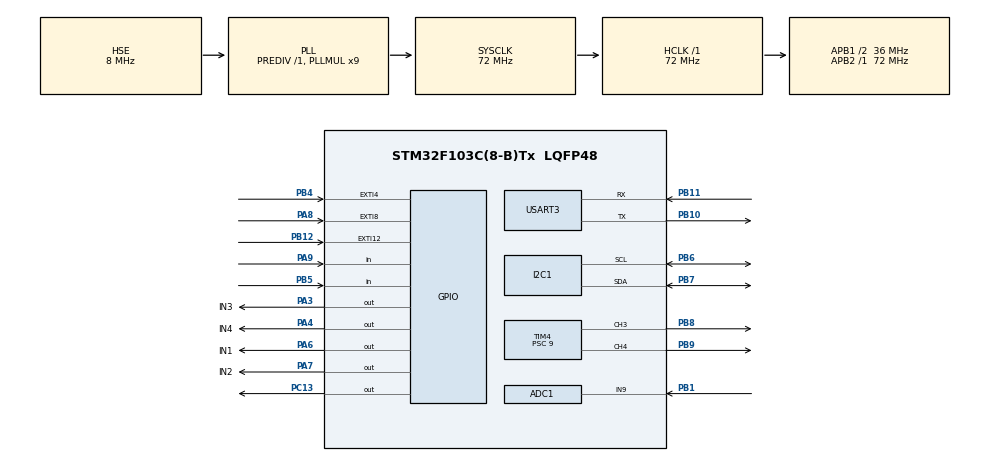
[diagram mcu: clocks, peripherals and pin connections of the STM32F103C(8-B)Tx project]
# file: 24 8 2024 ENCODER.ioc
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ADC1.Channel-0\#ChannelRegularConversion=ADC_CHANNEL_9
ADC1.NbrOfConversionFlag=1
ADC1.Rank-0\#ChannelRegularConversion=1
ADC1.SamplingTime-0\#ChannelRegularConversion=ADC_SAMPLETIME_1CYCLE_5
ADC1.master=1
Dma.ADC1.0.Direction=DMA_PERIPH_TO_MEMORY
Dma.ADC1.0.Instance=DMA1_Channel1
Dma.ADC1.0.MemDataAlignment=DMA_MDATAALIGN_HALFWORD
Dma.ADC1.0.MemInc=DMA_MINC_ENABLE
Dma.ADC1.0.Mode=DMA_CIRCULAR
Dma.ADC1.0.PeriphDataAlignment=DMA_PDATAALIGN_HALFWORD
Dma.ADC1.0.PeriphInc=DMA_PINC_DISABLE
Dma.ADC1.0.Priority=DMA_PRIORITY_LOW
Dma.Request0=ADC1
Mcu.Family=STM32F1
Mcu.Name=STM32F103C(8-B)Tx
Mcu.Package=LQFP48
NVIC.DMA1_Channel1_IRQn=true\:0\:0\:false\:false\:true\:false\:true\:true
NVIC.EXTI15_10_IRQn=true\:0\:0\:false\:false\:true\:true\:true\:true
NVIC.EXTI4_IRQn=true\:0\:0\:false\:false\:true\:true\:true\:true
NVIC.EXTI9_5_IRQn=true\:0\:0\:false\:false\:true\:true\:true\:true
NVIC.PriorityGroup=NVIC_PRIORITYGROUP_4
NVIC.TIM2_IRQn=true\:0\:0\:false\:false\:true\:true\:true\:true
NVIC.USART3_IRQn=true\:0\:0\:false\:false\:true\:true\:true\:true
PA13.Mode=Serial_Wire
PA13.Signal=SYS_JTMS-SWDIO
PA14.Mode=Serial_Wire
PA14.Signal=SYS_JTCK-SWCLK
PA3.GPIO_Label=IN3
PA3.Signal=GPIO_Output
PA4.GPIO_Label=IN4
PA4.Signal=GPIO_Output
PA6.GPIO_Label=IN1
PA6.Signal=GPIO_Output
PA7.GPIO_Label=IN2
PA7.Signal=GPIO_Output
PA8.GPIO_PuPd=GPIO_PULLUP
PA8.Signal=GPXTI8
PA9.GPIO_PuPd=GPIO_PULLUP
PA9.Signal=GPIO_Input
PB1.Signal=ADCx_IN9
PB10.Mode=Asynchronous
PB10.Signal=USART3_TX
PB11.Mode=Asynchronous
PB11.Signal=USART3_RX
PB12.GPIO_PuPd=GPIO_PULLUP
PB12.Signal=GPXTI12
PB4.GPIO_PuPd=GPIO_PULLUP
PB4.Signal=GPXTI4
PB5.GPIO_PuPd=GPIO_PULLUP
PB5.Signal=GPIO_Input
PB6.Mode=I2C
PB6.Signal=I2C1_SCL
PB7.Mode=I2C
PB7.Signal=I2C1_SDA
PB8.Signal=S_TIM4_CH3
PB9.Signal=S_TIM4_CH4
PC13-TAMPER-RTC.Signal=GPIO_Output
PD0-OSC_IN.Mode=HSE-External-Oscillator
PD0-OSC_IN.Signal=RCC_OSC_IN
PD1-OSC_OUT.Mode=HSE-External-Oscillator
PD1-OSC_OUT.Signal=RCC_OSC_OUT
ProjectManager.HeapSize=0x200
ProjectManager.StackSize=0x400
ProjectManager.TargetToolchain=MDK-ARM V5
RCC.ADCPresc=RCC_ADCPCLK2_DIV6
RCC.AHBFreq_Value=72000000
RCC.APB1CLKDivider=RCC_HCLK_DIV2
RCC.APB1Freq_Value=36000000
RCC.APB1TimFreq_Value=72000000
RCC.APB2Freq_Value=72000000
RCC.APB2TimFreq_Value=72000000
RCC.HCLKFreq_Value=72000000
RCC.PLLMUL=RCC_PLL_MUL9
RCC.PLLSourceVirtual=RCC_PLLSOURCE_HSE
RCC.SYSCLKFreq_VALUE=72000000
RCC.SYSCLKSource=RCC_SYSCLKSOURCE_PLLCLK
RCC.USBFreq_Value=72000000
SH.ADCx_IN9.0=ADC1_IN9,IN9
SH.S_TIM4_CH3.0=TIM4_CH3,PWM Generation3 CH3
SH.S_TIM4_CH4.0=TIM4_CH4,PWM Generation4 CH4
TIM2.Period=3999
TIM2.Prescaler=179
TIM4.Channel-PWM\ Generation3\ CH3=TIM_CHANNEL_3
TIM4.Channel-PWM\ Generation4\ CH4=TIM_CHANNEL_4
TIM4.Period=1799
TIM4.Prescaler=9
USART3.VirtualMode=VM_ASYNC
VP_TIM2_VS_ClockSourceINT.Mode=Internal
board=custom

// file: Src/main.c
/* USER CODE BEGIN Header */
/**
  ******************************************************************************
  * @file           : main.c
  * @brief          : Main program body
  ******************************************************************************
  * @attention
  *
  * Copyright (c) 2024 STMicroelectronics.
  * All rights reserved.
  *
  * This software is licensed under terms that can be found in the LICENSE file
  * in the root directory of this software component.
  * If no LICENSE file comes with this software, it is provided AS-IS.
  *
  ******************************************************************************
  */
/* USER CODE END Header */
#include "main.h"

/* USER CODE BEGIN Includes */
#include "stdio.h"
#include "string.h"
#include "i2c-lcd.h"

/* USER CODE END Includes */

ADC_HandleTypeDef hadc1;
DMA_HandleTypeDef hdma_adc1;

I2C_HandleTypeDef hi2c1;

TIM_HandleTypeDef htim2;
TIM_HandleTypeDef htim4;

UART_HandleTypeDef huart3;

void SystemClock_Config(void);
static void MX_GPIO_Init(void);
static void MX_DMA_Init(void);
static void MX_ADC1_Init(void);
static void MX_TIM2_Init(void);
static void MX_TIM4_Init(void);
static void MX_I2C1_Init(void);
static void MX_USART3_UART_Init(void);

/* USER CODE BEGIN 0 */
uint16_t	readPOT[1];
int processPOT;
int valuePOT;
int valuePWM_L;
int valuePWM_R;
int DIRR=1;
int DIRL=1;

void Forward(){
		HAL_GPIO_WritePin(IN1_GPIO_Port, IN1_Pin, 0);
		HAL_GPIO_WritePin(IN2_GPIO_Port, IN2_Pin, 1);
		HAL_GPIO_WritePin(IN3_GPIO_Port, IN3_Pin, 0);
		HAL_GPIO_WritePin(IN4_GPIO_Port, IN4_Pin, 1);
}
void Back(){
		HAL_GPIO_WritePin(IN1_GPIO_Port, IN1_Pin, 1);
		HAL_GPIO_WritePin(IN2_GPIO_Port, IN2_Pin, 0);
		HAL_GPIO_WritePin(IN3_GPIO_Port, IN3_Pin, 1);
		HAL_GPIO_WritePin(IN4_GPIO_Port, IN4_Pin, 0);
}
void Stop(){
		HAL_GPIO_WritePin(IN1_GPIO_Port, IN1_Pin, 0);
		HAL_GPIO_WritePin(IN2_GPIO_Port, IN2_Pin, 0);
		HAL_GPIO_WritePin(IN3_GPIO_Port, IN3_Pin, 0);
		HAL_GPIO_WritePin(IN4_GPIO_Port, IN4_Pin, 0);
}

void PWMMOTOR(){
	if(DIRL > 0){
		__HAL_TIM_SetCompare(&htim4,TIM_CHANNEL_3, valuePWM_L);
		HAL_GPIO_WritePin(IN3_GPIO_Port, IN1_Pin, 1);
		HAL_GPIO_WritePin(IN4_GPIO_Port, IN2_Pin, 0);
	}
	if(DIRR > 0){
		__HAL_TIM_SetCompare(&htim4,TIM_CHANNEL_4, valuePWM_R);
		HAL_GPIO_WritePin(IN3_GPIO_Port, IN3_Pin, 1);
		HAL_GPIO_WritePin(IN4_GPIO_Port, IN4_Pin, 0);
	}

	if(DIRL < 0){
		__HAL_TIM_SetCompare(&htim4,TIM_CHANNEL_3, valuePWM_L);
		HAL_GPIO_WritePin(IN3_GPIO_Port, IN1_Pin, 0);
		HAL_GPIO_WritePin(IN4_GPIO_Port, IN2_Pin, 1);
	}
	if(DIRR < 0){
		__HAL_TIM_SetCompare(&htim4,TIM_CHANNEL_4, valuePWM_R);
		HAL_GPIO_WritePin(IN3_GPIO_Port, IN3_Pin, 0);
		HAL_GPIO_WritePin(IN4_GPIO_Port, IN4_Pin, 1);
	}

	if(valuePWM_R == 0){
		__HAL_TIM_SetCompare(&htim4,TIM_CHANNEL_4, 0);
		HAL_GPIO_WritePin(IN1_GPIO_Port, IN3_Pin, 0);
		HAL_GPIO_WritePin(IN2_GPIO_Port, IN4_Pin, 0);
	}
	if(valuePWM_L == 0){
		__HAL_TIM_SetCompare(&htim4,TIM_CHANNEL_3, 0);
		HAL_GPIO_WritePin(IN1_GPIO_Port, IN1_Pin, 0);
		HAL_GPIO_WritePin(IN2_GPIO_Port, IN2_Pin, 0);
	}

}
volatile short eR;
volatile short enR;
volatile short eL;
volatile short enL;
int btnStart=0;
int valueStart=0;
int i=1;
void HAL_GPIO_EXTI_Callback(uint16_t GPIO_Pin){
		if(HAL_GPIO_ReadPin(GPIOB, GPIO_PIN_12) == 0){
			btnStart = 1;

		}

	 if(GPIO_Pin == GPIO_PIN_4) {
			if(HAL_GPIO_ReadPin(GPIOB, GPIO_PIN_5) == 0) {
					eR++;
			} else {
					eR--;
			}
    }

	 if(GPIO_Pin == GPIO_PIN_8) {
			if(HAL_GPIO_ReadPin(GPIOA, GPIO_PIN_9) == 0){
					eL--;
			} else {
					eL++;
			}
   }
}

float taget=0;
float valueL=0;
float cnt=0;
float valueE=0;
float valueEXP=0;
float kd1=0.6; //0.6
float kp1=1; //5.5
float kd2=0.7;
float kp2=1;
float output=0;
float theta0=0;
float theta1=0;
float theta2=0;
float theta3=0;
float W1=0;
float W2=0;
float POT=0;
float Wr1=0;
float Wr2=0;
float e1=0;
float e2=0;
float e3=0;
float e4=0;
float t=0;
float a=0;
float smax=2;
float vmax=0.65;
float tf=3.25;
float t1=0;
float t2=0;
float x=0;
float output1=0;
float output2=0;
float output3=0;
float output4=0;
float start=0;
int value =0;
void cal(){
	if(valuePWM_R >= 1799){
		valuePWM_R = 1799;
	}
	if(valuePWM_R <= -1799){
		valuePWM_R = -1799;
	}

	if(valuePWM_R<0){
		valuePWM_R = valuePWM_R*(-1);
		DIRR = -1;
	}
	else if(valuePWM_R>0){
		valuePWM_R = valuePWM_R*1;
		DIRR = 1;
	}

	if(valuePWM_L >= 1799){
		valuePWM_L = 1799;
	}
	if(valuePWM_L <= -1799){
		valuePWM_L = -1799;
	}
	if(valuePWM_L<0){
		valuePWM_L = valuePWM_L*(-1);
		DIRL = -1;
	}
	else if(valuePWM_L>0){
		valuePWM_L = valuePWM_L*1;
		DIRL = 1;
	}

	PWMMOTOR();
}

void HAL_TIM_PeriodElapsedCallback(TIM_HandleTypeDef *htim){
	enL = eL*4;
	enR = eR*4;
//	HAL_ADC_Start(&hadc1);
//	POT = HAL_ADC_GetValue(&hadc1);
//	tf = POT*4/4096;
	if(valueStart == 1){
		a = vmax/t1;
		t1 = (vmax*tf-smax)/vmax;
		t2 = tf-2*t1;
		t += 0.01;
		if(t<t1){
			x = 0.5 * a *(t*t);
		}
		else if(t < tf-t1){
			x = 0.5*a*(t1*t1) + vmax*(t-t1);
		}
		else if(t < tf){
			x = 0.5*a*t1*t1 + vmax*t2 + vmax*(t-t1-t2) + 0.5*a*(t-t1-t2)*(t-t1-t2);
		}
	}
	//cnt = (x*968)/(3.14*0.065);
	cnt = (x/(3.14*0.065))*936;

	//################RIGHT################
	theta1 = enR;
	e1 = cnt-enR;
	W1 = (theta1-theta0)*100;
	output1 = kp1*e1 - kd1*W1;
	valuePWM_R = output1*1799/936;
	theta0=theta1;

	//################LEFT################
	theta3 = enL;
	e1 = cnt-enL;
	W1 = (theta3-theta2)*100;
	output2 = kp2*e1 - kd2*W1;
	valuePWM_L = output2*1799/936;
	theta2=theta3;

//	if(t>=tf){
//		valuePWM_L = 0;
//		valuePWM_R = 0;
//		Stop();
//	}

	cal();
}
void lcd(){
		lcd_clear();
		lcd_put_cur(0,0);
		lcd_send_string("Tf:");
		lcd_send_number((float)tf);

		lcd_put_cur(0,8);
		lcd_send_string("TIME:");
		lcd_send_number((float)start);

		lcd_put_cur(1,0);
		lcd_send_string("T:");
		lcd_send_number((float)t);

		lcd_put_cur(1,8);
		lcd_send_string("PWM:");
		lcd_send_number((int)valuePWM_L);
}
/* USER CODE END 0 */

int main(void)
{

  /* MCU Configuration--------------------------------------------------------*/

  /* Reset of all peripherals, Initializes the Flash interface and the Systick. */
  HAL_Init();

  /* Configure the system clock */
  SystemClock_Config();

  /* Initialize all configured peripherals */
  MX_GPIO_Init();
  MX_DMA_Init();
  MX_ADC1_Init();
  MX_TIM2_Init();
  MX_TIM4_Init();
  MX_I2C1_Init();
  MX_USART3_UART_Init();
  /* USER CODE BEGIN 2 */
	HAL_GPIO_TogglePin(GPIOC,GPIO_PIN_13);
	lcd_init();
	lcd_put_cur(0,3);
	lcd_send_string("DA2 - N2A");
	lcd_put_cur(1,3);
	lcd_send_string("DH CDT17A");

	HAL_TIM_PWM_Start(&htim4,TIM_CHANNEL_3);
	HAL_TIM_PWM_Start(&htim4,TIM_CHANNEL_4);
	//HAL_TIM_Encoder_Start(&htim3,TIM_CHANNEL_1);
	//HAL_TIM_Encoder_Start(&htim3,TIM_CHANNEL_2);
//	HAL_TIM_Encoder_Start(&htim1,TIM_CHANNEL_1);
//	HAL_TIM_Encoder_Start(&htim1,TIM_CHANNEL_2);
	HAL_TIM_Base_Start_IT(&htim2);
//	for(int i=1; i<=6; i++){
//		HAL_GPIO_TogglePin(GPIOC,GPIO_PIN_13);
//		HAL_Delay(500);
//		start += 0.5;
//		lcd();
//
//	}
//	btnStart = 1;

  /* USER CODE END 2 */

  /* Infinite loop */
  while (1)
  {

    /* USER CODE BEGIN 3 */
		if(valueStart == 0){
			if(btnStart == 1){
				for(int i=1; i<=6; i++){
				HAL_GPIO_TogglePin(GPIOC,GPIO_PIN_13);
				HAL_Delay(500);
				}
				valueStart = 1;
			}
		}

		lcd_clear();
		lcd();
		HAL_Delay(100);
		//value += 1;
//			taget=0;
//			HAL_Delay(1500);
//
//			taget += 90;
//			HAL_Delay(1500);
//			taget += 90;
//			HAL_Delay(1500);
//			taget += 90;
//			HAL_Delay(1500);
//			taget += 90;
//			HAL_Delay(1500);

//			taget -= 90;
//			HAL_Delay(1500);
//			taget -= 90;
//			HAL_Delay(1500);
//			taget -= 90;
//			HAL_Delay(1500);
//			taget -= 90;
		//}
  }
  /* USER CODE END 3 */
}

void SystemClock_Config(void)
{
  RCC_OscInitTypeDef RCC_OscInitStruct = {0};
  RCC_ClkInitTypeDef RCC_ClkInitStruct = {0};
  RCC_PeriphCLKInitTypeDef PeriphClkInit = {0};

  /** Initializes the RCC Oscillators according to the specified parameters
  * in the RCC_OscInitTypeDef structure.
  */
  RCC_OscInitStruct.OscillatorType = RCC_OSCILLATORTYPE_HSE;
  RCC_OscInitStruct.HSEState = RCC_HSE_ON;
  RCC_OscInitStruct.HSEPredivValue = RCC_HSE_PREDIV_DIV1;
  RCC_OscInitStruct.HSIState = RCC_HSI_ON;
  RCC_OscInitStruct.PLL.PLLState = RCC_PLL_ON;
  RCC_OscInitStruct.PLL.PLLSource = RCC_PLLSOURCE_HSE;
  RCC_OscInitStruct.PLL.PLLMUL = RCC_PLL_MUL9;
  if (HAL_RCC_OscConfig(&RCC_OscInitStruct) != HAL_OK)
  {
    Error_Handler();
  }

  /** Initializes the CPU, AHB and APB buses clocks
  */
  RCC_ClkInitStruct.ClockType = RCC_CLOCKTYPE_HCLK|RCC_CLOCKTYPE_SYSCLK
                              |RCC_CLOCKTYPE_PCLK1|RCC_CLOCKTYPE_PCLK2;
  RCC_ClkInitStruct.SYSCLKSource = RCC_SYSCLKSOURCE_PLLCLK;
  RCC_ClkInitStruct.AHBCLKDivider = RCC_SYSCLK_DIV1;
  RCC_ClkInitStruct.APB1CLKDivider = RCC_HCLK_DIV2;
  RCC_ClkInitStruct.APB2CLKDivider = RCC_HCLK_DIV1;

  if (HAL_RCC_ClockConfig(&RCC_ClkInitStruct, FLASH_LATENCY_2) != HAL_OK)
  {
    Error_Handler();
  }
  PeriphClkInit.PeriphClockSelection = RCC_PERIPHCLK_ADC;
  PeriphClkInit.AdcClockSelection = RCC_ADCPCLK2_DIV6;
  if (HAL_RCCEx_PeriphCLKConfig(&PeriphClkInit) != HAL_OK)
  {
    Error_Handler();
  }
}

static void MX_ADC1_Init(void)
{

  ADC_ChannelConfTypeDef sConfig = {0};

  /** Common config
  */
  hadc1.Instance = ADC1;
  hadc1.Init.ScanConvMode = ADC_SCAN_DISABLE;
  hadc1.Init.ContinuousConvMode = DISABLE;
  hadc1.Init.DiscontinuousConvMode = DISABLE;
  hadc1.Init.ExternalTrigConv = ADC_SOFTWARE_START;
  hadc1.Init.DataAlign = ADC_DATAALIGN_RIGHT;
  hadc1.Init.NbrOfConversion = 1;
  if (HAL_ADC_Init(&hadc1) != HAL_OK)
  {
    Error_Handler();
  }

  /** Configure Regular Channel
  */
  sConfig.Channel = ADC_CHANNEL_9;
  sConfig.Rank = ADC_REGULAR_RANK_1;
  sConfig.SamplingTime = ADC_SAMPLETIME_1CYCLE_5;
  if (HAL_ADC_ConfigChannel(&hadc1, &sConfig) != HAL_OK)
  {
    Error_Handler();
  }

}

static void MX_I2C1_Init(void)
{

  hi2c1.Instance = I2C1;
  hi2c1.Init.ClockSpeed = 100000;
  hi2c1.Init.DutyCycle = I2C_DUTYCYCLE_2;
  hi2c1.Init.OwnAddress1 = 0;
  hi2c1.Init.AddressingMode = I2C_ADDRESSINGMODE_7BIT;
  hi2c1.Init.DualAddressMode = I2C_DUALADDRESS_DISABLE;
  hi2c1.Init.OwnAddress2 = 0;
  hi2c1.Init.GeneralCallMode = I2C_GENERALCALL_DISABLE;
  hi2c1.Init.NoStretchMode = I2C_NOSTRETCH_DISABLE;
  if (HAL_I2C_Init(&hi2c1) != HAL_OK)
  {
    Error_Handler();
  }

}

static void MX_TIM2_Init(void)
{

  TIM_ClockConfigTypeDef sClockSourceConfig = {0};
  TIM_MasterConfigTypeDef sMasterConfig = {0};

  htim2.Instance = TIM2;
  htim2.Init.Prescaler = 179;
  htim2.Init.CounterMode = TIM_COUNTERMODE_UP;
  htim2.Init.Period = 3999;
  htim2.Init.ClockDivision = TIM_CLOCKDIVISION_DIV1;
  htim2.Init.AutoReloadPreload = TIM_AUTORELOAD_PRELOAD_DISABLE;
  if (HAL_TIM_Base_Init(&htim2) != HAL_OK)
  {
    Error_Handler();
  }
  sClockSourceConfig.ClockSource = TIM_CLOCKSOURCE_INTERNAL;
  if (HAL_TIM_ConfigClockSource(&htim2, &sClockSourceConfig) != HAL_OK)
  {
    Error_Handler();
  }
  sMasterConfig.MasterOutputTrigger = TIM_TRGO_RESET;
  sMasterConfig.MasterSlaveMode = TIM_MASTERSLAVEMODE_DISABLE;
  if (HAL_TIMEx_MasterConfigSynchronization(&htim2, &sMasterConfig) != HAL_OK)
  {
    Error_Handler();
  }

}

static void MX_TIM4_Init(void)
{

  TIM_MasterConfigTypeDef sMasterConfig = {0};
  TIM_OC_InitTypeDef sConfigOC = {0};

  htim4.Instance = TIM4;
  htim4.Init.Prescaler = 9;
  htim4.Init.CounterMode = TIM_COUNTERMODE_UP;
  htim4.Init.Period = 1799;
  htim4.Init.ClockDivision = TIM_CLOCKDIVISION_DIV1;
  htim4.Init.AutoReloadPreload = TIM_AUTORELOAD_PRELOAD_DISABLE;
  if (HAL_TIM_PWM_Init(&htim4) != HAL_OK)
  {
    Error_Handler();
  }
  sMasterConfig.MasterOutputTrigger = TIM_TRGO_RESET;
  sMasterConfig.MasterSlaveMode = TIM_MASTERSLAVEMODE_DISABLE;
  if (HAL_TIMEx_MasterConfigSynchronization(&htim4, &sMasterConfig) != HAL_OK)
  {
    Error_Handler();
  }
  sConfigOC.OCMode = TIM_OCMODE_PWM1;
  sConfigOC.Pulse = 0;
  sConfigOC.OCPolarity = TIM_OCPOLARITY_HIGH;
  sConfigOC.OCFastMode = TIM_OCFAST_DISABLE;
  if (HAL_TIM_PWM_ConfigChannel(&htim4, &sConfigOC, TIM_CHANNEL_3) != HAL_OK)
  {
    Error_Handler();
  }
  if (HAL_TIM_PWM_ConfigChannel(&htim4, &sConfigOC, TIM_CHANNEL_4) != HAL_OK)
  {
    Error_Handler();
  }
  HAL_TIM_MspPostInit(&htim4);

}

static void MX_USART3_UART_Init(void)
{

  huart3.Instance = USART3;
  huart3.Init.BaudRate = 115200;
  huart3.Init.WordLength = UART_WORDLENGTH_8B;
  huart3.Init.StopBits = UART_STOPBITS_1;
  huart3.Init.Parity = UART_PARITY_NONE;
  huart3.Init.Mode = UART_MODE_TX_RX;
  huart3.Init.HwFlowCtl = UART_HWCONTROL_NONE;
  huart3.Init.OverSampling = UART_OVERSAMPLING_16;
  if (HAL_UART_Init(&huart3) != HAL_OK)
  {
    Error_Handler();
  }

}

static void MX_DMA_Init(void)
{

  /* DMA controller clock enable */
  __HAL_RCC_DMA1_CLK_ENABLE();

  /* DMA interrupt init */
  /* DMA1_Channel1_IRQn interrupt configuration */
  HAL_NVIC_SetPriority(DMA1_Channel1_IRQn, 0, 0);
  HAL_NVIC_EnableIRQ(DMA1_Channel1_IRQn);

}

static void MX_GPIO_Init(void)
{
  GPIO_InitTypeDef GPIO_InitStruct = {0};

  /* GPIO Ports Clock Enable */
  __HAL_RCC_GPIOC_CLK_ENABLE();
  __HAL_RCC_GPIOD_CLK_ENABLE();
  __HAL_RCC_GPIOA_CLK_ENABLE();
  __HAL_RCC_GPIOB_CLK_ENABLE();

  /*Configure GPIO pin Output Level */
  HAL_GPIO_WritePin(GPIOC, GPIO_PIN_13, GPIO_PIN_RESET);

  /*Configure GPIO pin Output Level */
  HAL_GPIO_WritePin(GPIOA, IN3_Pin|IN4_Pin|IN1_Pin|IN2_Pin, GPIO_PIN_RESET);

  /*Configure GPIO pin : PC13 */
  GPIO_InitStruct.Pin = GPIO_PIN_13;
  GPIO_InitStruct.Mode = GPIO_MODE_OUTPUT_PP;
  GPIO_InitStruct.Pull = GPIO_NOPULL;
  GPIO_InitStruct.Speed = GPIO_SPEED_FREQ_LOW;
  HAL_GPIO_Init(GPIOC, &GPIO_InitStruct);

  /*Configure GPIO pins : IN3_Pin IN4_Pin IN1_Pin IN2_Pin */
  GPIO_InitStruct.Pin = IN3_Pin|IN4_Pin|IN1_Pin|IN2_Pin;
  GPIO_InitStruct.Mode = GPIO_MODE_OUTPUT_PP;
  GPIO_InitStruct.Pull = GPIO_NOPULL;
  GPIO_InitStruct.Speed = GPIO_SPEED_FREQ_LOW;
  HAL_GPIO_Init(GPIOA, &GPIO_InitStruct);

  /*Configure GPIO pins : PB12 PB4 */
  GPIO_InitStruct.Pin = GPIO_PIN_12|GPIO_PIN_4;
  GPIO_InitStruct.Mode = GPIO_MODE_IT_RISING;
  GPIO_InitStruct.Pull = GPIO_PULLUP;
  HAL_GPIO_Init(GPIOB, &GPIO_InitStruct);

  /*Configure GPIO pin : PA8 */
  GPIO_InitStruct.Pin = GPIO_PIN_8;
  GPIO_InitStruct.Mode = GPIO_MODE_IT_RISING;
  GPIO_InitStruct.Pull = GPIO_PULLUP;
  HAL_GPIO_Init(GPIOA, &GPIO_InitStruct);

  /*Configure GPIO pin : PA9 */
  GPIO_InitStruct.Pin = GPIO_PIN_9;
  GPIO_InitStruct.Mode = GPIO_MODE_INPUT;
  GPIO_InitStruct.Pull = GPIO_PULLUP;
  HAL_GPIO_Init(GPIOA, &GPIO_InitStruct);

  /*Configure GPIO pin : PB5 */
  GPIO_InitStruct.Pin = GPIO_PIN_5;
  GPIO_InitStruct.Mode = GPIO_MODE_INPUT;
  GPIO_InitStruct.Pull = GPIO_PULLUP;
  HAL_GPIO_Init(GPIOB, &GPIO_InitStruct);

  /* EXTI interrupt init*/
  HAL_NVIC_SetPriority(EXTI4_IRQn, 0, 0);
  HAL_NVIC_EnableIRQ(EXTI4_IRQn);

  HAL_NVIC_SetPriority(EXTI9_5_IRQn, 0, 0);
  HAL_NVIC_EnableIRQ(EXTI9_5_IRQn);

  HAL_NVIC_SetPriority(EXTI15_10_IRQn, 0, 0);
  HAL_NVIC_EnableIRQ(EXTI15_10_IRQn);

}

void Error_Handler(void)
{
  __disable_irq();
  while (1)
  {
  }
}
